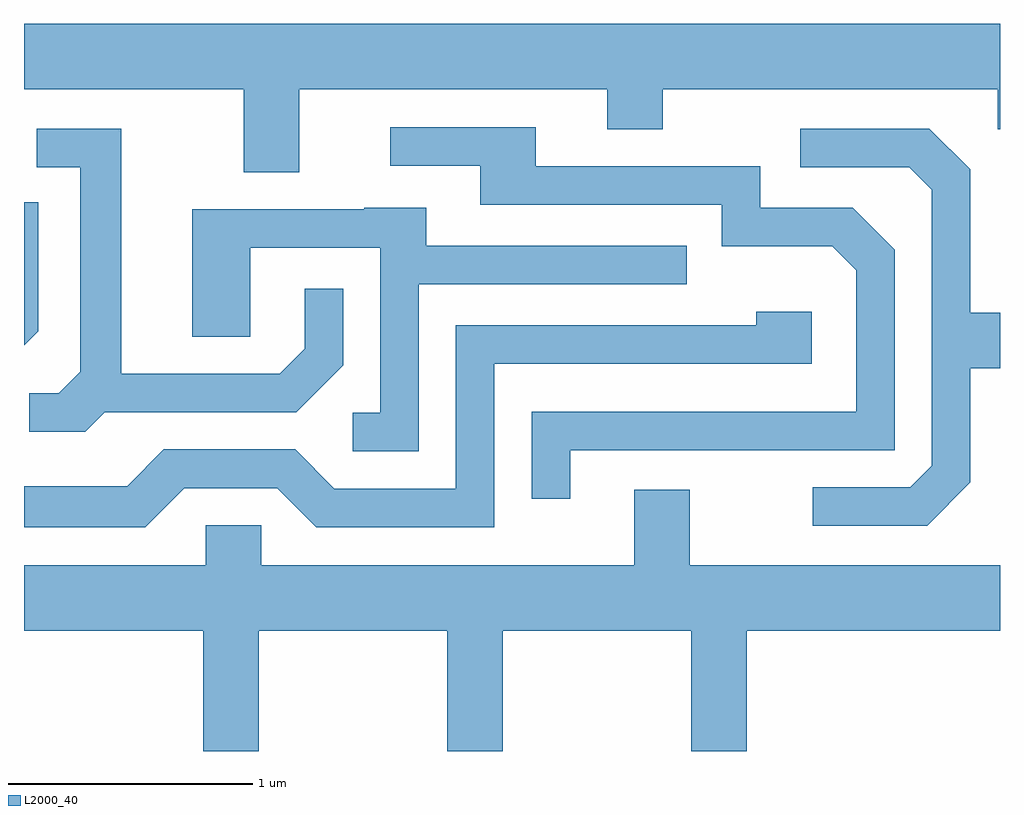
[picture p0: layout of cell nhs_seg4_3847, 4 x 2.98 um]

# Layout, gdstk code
import gdstk
lib = gdstk.Library(unit=1e-6, precision=1e-09)
def P(c, l, *ps):  # polygons
    for p in ps: c.add(gdstk.Polygon(p, *l))
L2000_40 = (2000, 40)

nhs_seg4_3847 = lib.new_cell('nhs_seg4_3847')
P(nhs_seg4_3847, L2000_40, [(298.739,1334.696),(300.001,1334.696),(300.001,1334.531),(300.229,1334.531),(300.229,1334.696),(301.601,1334.696),(301.601,1334.531),(301.611,1334.531),(301.611,1334.964),(297.611,1334.964),(297.611,1334.696),(298.511,1334.696),(298.511,1334.356),(298.739,1334.356)],
  [(299.849,1333.216),(301.179,1333.216),(301.179,1334.037),(301.007,1334.209),(300.629,1334.209),(300.629,1334.379),(299.709,1334.379),(299.709,1334.539),(299.113,1334.539),(299.113,1334.381),(299.481,1334.381),(299.481,1334.221),(300.471,1334.221),(300.471,1334.051),(300.924,1334.051),(301.021,1333.954),(301.021,1333.374),(299.691,1333.374),(299.691,1333.018),(299.849,1333.018)],
  [(301.489,1333.084),(301.489,1333.551),(301.611,1333.551),(301.611,1333.779),(301.489,1333.779),(301.489,1334.367),(301.322,1334.534),(300.793,1334.534),(300.793,1334.376),(301.239,1334.376),(301.331,1334.284),(301.331,1333.152),(301.244,1333.064),(300.843,1333.064),(300.843,1332.906),(301.312,1332.906)],
  [(297.942,1333.371),(298.727,1333.371),(298.919,1333.564),(298.919,1333.878),(298.761,1333.878),(298.761,1333.632),(298.659,1333.529),(298.009,1333.529),(298.009,1334.534),(297.663,1334.534),(297.663,1334.376),(297.841,1334.376),(297.841,1333.537),(297.754,1333.449),(297.633,1333.449),(297.633,1333.291),(297.862,1333.291)],
  [(297.669,1333.704),(297.669,1334.233),(297.611,1334.233),(297.611,1333.646)],
  [(299.229,1333.896),(300.328,1333.896),(300.328,1334.054),(299.259,1334.054),(299.259,1334.209),(299.005,1334.209),(299.005,1334.204),(298.301,1334.204),(298.301,1333.681),(298.539,1333.681),(298.539,1334.046),(299.071,1334.046),(299.071,1333.369),(298.958,1333.369),(298.958,1333.211),(299.229,1333.211)],
  [(298.267,1333.061),(298.649,1333.061),(298.809,1332.901),(299.539,1332.901),(299.539,1333.571),(300.839,1333.571),(300.839,1333.784),(300.611,1333.784),(300.611,1333.729),(299.381,1333.729),(299.381,1333.059),(298.882,1333.059),(298.722,1333.219),(298.184,1333.219),(298.034,1333.069),(297.611,1333.069),(297.611,1332.901),(298.107,1332.901)],
  [(298.574,1332.476),(299.346,1332.476),(299.346,1331.982),(299.574,1331.982),(299.574,1332.476),(300.346,1332.476),(300.346,1331.982),(300.574,1331.982),(300.574,1332.476),(301.611,1332.476),(301.611,1332.744),(300.339,1332.744),(300.339,1333.054),(300.111,1333.054),(300.111,1332.744),(298.584,1332.744),(298.584,1332.909),(298.356,1332.909),(298.356,1332.744),(297.611,1332.744),(297.611,1332.476),(298.346,1332.476),(298.346,1331.982),(298.574,1331.982)])

lib.write_gds('nhs_seg4_3847.gds')
